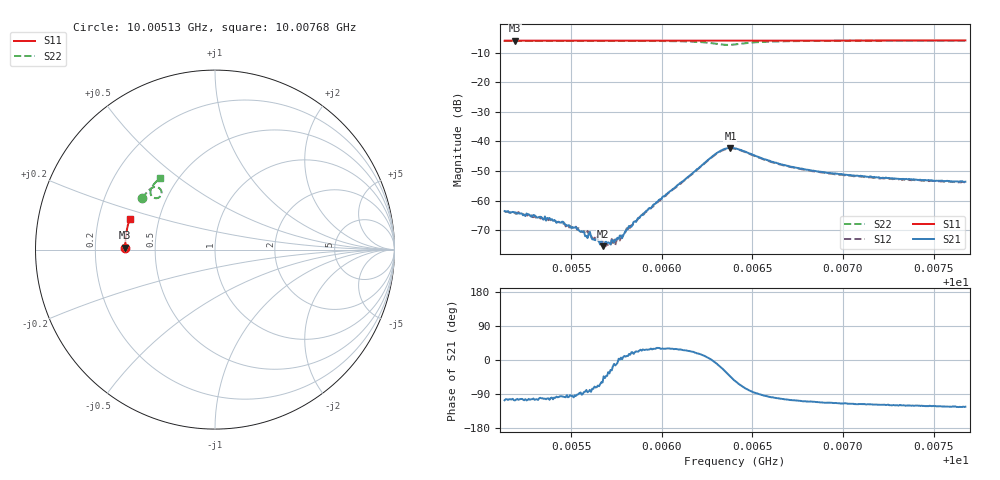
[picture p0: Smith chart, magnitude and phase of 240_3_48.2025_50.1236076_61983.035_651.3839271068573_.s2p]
#  HZ  S  RI  R  50.00
! Rohde & Schwarz Vector Network Analyzer
! Rohde-Schwarz,ZNB20-2Port,1311601062101988,3.16
! Created: UTC 3/20/2024, 11:46:50 AM
! freq[Hz]  re:S11  im:S11  re:S21  im:S21  re:S12  im:S12  re:S22  im:S22
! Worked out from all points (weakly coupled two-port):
!   401 points, 10.00513 GHz to 10.00768 GHz, reference 50 ohm
!   highest |S21| = -42.18 dB at 10.00638 GHz (marker M1); lowest = -75.3 dB at 10.00567 GHz (marker M2)
!   lowest |S11| = -6.0 dB at 10.00519 GHz (marker M3), VSWR 3.00, Z = 16.7 + j0.445 ohm
!   |S11| at or under -10 dB: nowhere
!   |S22| runs from -7.4 to -6.0 dB; largest |S21 - S12| = 0.00044
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1.0005133e10  -0.5 0.00628  -0.000188 -0.000644  -0.000114 -0.000638  -0.4044 0.2858
1.000519e10  -0.4998 0.01  -0.000183 -0.000612  -0.000136 -0.000604  -0.4021 0.2892
1.0005381e10  -0.5 0.0224  -0.000132 -0.000494  -8.61e-05 -0.000475  -0.3945 0.3004
1.0005527e10  -0.4998 0.0319  -2.86e-05 -0.00036  1.82e-05 -0.000362  -0.3879 0.3093
1.0005559e10  -0.4997 0.034  -8.97e-06 -0.000301  1.68e-05 -0.000305  -0.3865 0.3113
1.0005578e10  -0.4995 0.0351  2.96e-05 -0.000251  2.8e-05 -0.000279  -0.3857 0.3125
1.000561e10  -0.4996 0.0372  2.73e-05 -0.00025  5.47e-05 -0.000251  -0.3841 0.3143
1.0005673e10  -0.4993 0.0413  8.76e-05 -0.000148  0.000123 -0.000167  -0.3808 0.3183
1.0005705e10  -0.4994 0.0435  0.00017 -0.000106  0.000143 -9.98e-05  -0.3791 0.3203
1.0005756e10  -0.499 0.0467  0.000237 -3.07e-05  0.000233 -2.49e-05  -0.3764 0.3236
1.0005788e10  -0.4988 0.0487  0.000259 3.68e-05  0.00028 3.97e-05  -0.3744 0.3257
1.0005813e10  -0.4988 0.0504  0.000336 6.24e-05  0.000326 7.62e-05  -0.3727 0.3272
1.0005883e10  -0.4984 0.0551  0.000492 0.000252  0.000482 0.000256  -0.368 0.332
1.0005985e10  -0.4977 0.0616  0.000879 0.000544  0.000828 0.000557  -0.3597 0.3386
1.0006296e10  -0.4952 0.0816  0.00609 -0.000791  0.00598 -0.000454  -0.3004 0.3298
1.0006341e10  -0.4944 0.0841  0.00666 -0.00317  0.00662 -0.00282  -0.2989 0.3076
1.0006379e10  -0.4942 0.0863  0.00561 -0.00539  0.00574 -0.005  -0.3116 0.2909
1.0006405e10  -0.4941 0.0879  0.00437 -0.00631  0.00457 -0.00594  -0.3242 0.2864
1.0006614e10  -0.4924 0.1014  -0.000662 -0.00448  -0.00046 -0.0044  -0.3596 0.3253
1.000683e10  -0.4901 0.1152  -0.00111 -0.00302  -0.000975 -0.00301  -0.3505 0.3497
1.0007256e10  -0.4838 0.142  -0.00118 -0.0021  -0.00102 -0.00211  -0.3289 0.3772
1.0007676e10  -0.4763 0.1679  -0.00115 -0.00176  -0.00106 -0.00176  -0.3074 0.3978
